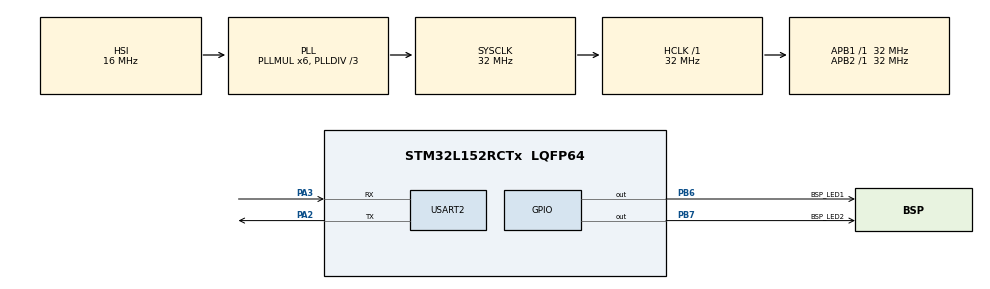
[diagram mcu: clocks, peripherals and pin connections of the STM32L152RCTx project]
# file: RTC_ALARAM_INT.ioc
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Mcu.Family=STM32L1
Mcu.Name=STM32L152RCTx
Mcu.Package=LQFP64
NVIC.PriorityGroup=NVIC_PRIORITYGROUP_0
NVIC.RTC_Alarm_IRQn=true\:0\:0\:false\:false\:true\:true\:true\:true
PA2.Mode=Asynchronous
PA2.Signal=USART2_TX
PA3.Mode=Asynchronous
PA3.Signal=USART2_RX
PB6.GPIO_Label=BSP_LED1
PB6.Signal=GPIO_Output
PB7.GPIO_Label=BSP_LED2
PB7.Signal=GPIO_Output
ProjectManager.HeapSize=0x200
ProjectManager.StackSize=0x400
ProjectManager.TargetToolchain=STM32CubeIDE
RCC.48MHZClocksFreq_Value=48000000
RCC.AHBFreq_Value=32000000
RCC.APB1Freq_Value=32000000
RCC.APB1TimFreq_Value=32000000
RCC.APB2Freq_Value=32000000
RCC.APB2TimFreq_Value=32000000
RCC.HCLKFreq_Value=32000000
RCC.HSE_VALUE=8000000
RCC.HSI_VALUE=16000000
RCC.LSE_VALUE=32768
RCC.MSI_VALUE=2097000
RCC.PLLDIV=RCC_PLL_DIV3
RCC.PLLMUL=RCC_PLL_MUL6
RCC.RTCClockSelection=RCC_RTCCLKSOURCE_LSI
RCC.RTCClockSelectionVirtual=RCC_RTCCLKSOURCE_LSE
RCC.SYSCLKFreq_VALUE=32000000
RCC.SYSCLKSource=RCC_SYSCLKSOURCE_PLLCLK
RCC.USBOutput=48000000
RCC.VCOOutputFreq_Value=96000000
RTC.Alarm-Alarm\ A=RTC_ALARM_A
RTC.AlarmMaskDateWeekDay_B-Alarm\ B=RTC_ALARMMASK_DATEWEEKDAY
RTC.AlarmMaskHours_B-Alarm\ B=RTC_ALARMMASK_HOURS
RTC.AlarmMaskMinutes_B-Alarm\ B=RTC_ALARMMASK_MINUTES
RTC.Alarm_B-Alarm\ B=RTC_ALARM_B
RTC.Date=1
RTC.Format=RTC_FORMAT_BCD
RTC.Hours=4
RTC.Hours_A-Alarm\ A=4
RTC.Minutes=20
RTC.Minutes_A-Alarm\ A=22
RTC.Month=RTC_MONTH_NOVEMBER
RTC.Seconds=8
RTC.Seconds_A-Alarm\ A=5
RTC.Seconds_B-Alarm\ B=30
RTC.WeekDay=RTC_WEEKDAY_TUESDAY
RTC.Year=22
USART2.VirtualMode=VM_ASYNC
VP_RTC_VS_RTC_Activate.Mode=RTC_Enabled
VP_RTC_VS_RTC_Alarm_A_Intern.Mode=Alarm A
VP_RTC_VS_RTC_Alarm_B_Intern.Mode=Alarm B
VP_RTC_VS_RTC_Calendar.Mode=RTC_Calendar
board=STM32L152C-DISCO

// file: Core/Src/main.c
/* USER CODE BEGIN Header */
/**
 ******************************************************************************
 * @file           : main.c
 * @brief          : Main program body
 ******************************************************************************
 * @attention
 *
 * Copyright (c) 2023 STMicroelectronics.
 * All rights reserved.
 *
 * This software is licensed under terms that can be found in the LICENSE file
 * in the root directory of this software component.
 * If no LICENSE file comes with this software, it is provided AS-IS.
 *
 ******************************************************************************
 */
/* USER CODE END Header */
#include "main.h"

/* USER CODE BEGIN Includes */
#include<stdio.h>
/* USER CODE END Includes */

/* USER CODE BEGIN PTD */
char Time[30];
char Date[20];
/* USER CODE END PTD */

RTC_HandleTypeDef hrtc;

UART_HandleTypeDef huart2;

void SystemClock_Config(void);
static void MX_GPIO_Init(void);
static void MX_USART2_UART_Init(void);
static void MX_RTC_Init(void);

/* USER CODE BEGIN 0 */
// below code is alram 4:22 then trigger so led set
void HAL_RTC_AlarmAEventCallback(RTC_HandleTypeDef *hrtc) {
	HAL_GPIO_WritePin(BSP_LED1_GPIO_Port, BSP_LED1_Pin, SET);
	//printf("time is out go out side\n");

}

// below code is evey minit is trigger 4:23 triger so led toggle
void HAL_RTCEx_AlarmBEventCallback(RTC_HandleTypeDef *hrtc) {

	HAL_GPIO_TogglePin(BSP_LED2_GPIO_Port, BSP_LED2_Pin);
}
/* USER CODE END 0 */

int main(void)
{

  /* MCU Configuration--------------------------------------------------------*/

  /* Reset of all peripherals, Initializes the Flash interface and the Systick. */
  HAL_Init();

  /* Configure the system clock */
  SystemClock_Config();

  /* Initialize all configured peripherals */
  MX_GPIO_Init();
  MX_USART2_UART_Init();
  MX_RTC_Init();
  /* USER CODE BEGIN 2 */

	RTC_TimeTypeDef sTime;
	RTC_DateTypeDef sDate;
	// RTC_AlarmTypeDef sAlarm ;

  /* USER CODE END 2 */

  /* Infinite loop */
	while (1) {

    /* USER CODE BEGIN 3 */

		HAL_RTC_GetTime(&hrtc, &sTime, RTC_FORMAT_BIN);
		HAL_RTC_GetDate(&hrtc, &sDate, RTC_FORMAT_BIN);

		sprintf(Time, "Time: %02d.%02d.%02d\r\n", sTime.Hours, sTime.Minutes,
				sTime.Seconds);

		sprintf(Date, "Date: %02d.%02d.%02d\r\n", sDate.Date, sDate.Month,
				sDate.Year);

//		printf("date is----->%x  %x  %x\r\n", sDate.Date ,sDate.Month,sDate.Year);
//		printf("time is --->%x %x %x \r\n",sTime.Hours,sTime.Minutes,sTime.Seconds);

		printf("--->%s\r\n", Date);
		printf("--->%s\r\n", Time);

		HAL_Delay(1000);

	}
  /* USER CODE END 3 */
}

void SystemClock_Config(void)
{
  RCC_OscInitTypeDef RCC_OscInitStruct = {0};
  RCC_ClkInitTypeDef RCC_ClkInitStruct = {0};
  RCC_PeriphCLKInitTypeDef PeriphClkInit = {0};

  /** Configure the main internal regulator output voltage
  */
  __HAL_PWR_VOLTAGESCALING_CONFIG(PWR_REGULATOR_VOLTAGE_SCALE1);

  /** Initializes the RCC Oscillators according to the specified parameters
  * in the RCC_OscInitTypeDef structure.
  */
  RCC_OscInitStruct.OscillatorType = RCC_OSCILLATORTYPE_HSI|RCC_OSCILLATORTYPE_LSI;
  RCC_OscInitStruct.HSIState = RCC_HSI_ON;
  RCC_OscInitStruct.HSICalibrationValue = RCC_HSICALIBRATION_DEFAULT;
  RCC_OscInitStruct.LSIState = RCC_LSI_ON;
  RCC_OscInitStruct.PLL.PLLState = RCC_PLL_ON;
  RCC_OscInitStruct.PLL.PLLSource = RCC_PLLSOURCE_HSI;
  RCC_OscInitStruct.PLL.PLLMUL = RCC_PLL_MUL6;
  RCC_OscInitStruct.PLL.PLLDIV = RCC_PLL_DIV3;
  if (HAL_RCC_OscConfig(&RCC_OscInitStruct) != HAL_OK)
  {
    Error_Handler();
  }

  /** Initializes the CPU, AHB and APB buses clocks
  */
  RCC_ClkInitStruct.ClockType = RCC_CLOCKTYPE_HCLK|RCC_CLOCKTYPE_SYSCLK
                              |RCC_CLOCKTYPE_PCLK1|RCC_CLOCKTYPE_PCLK2;
  RCC_ClkInitStruct.SYSCLKSource = RCC_SYSCLKSOURCE_PLLCLK;
  RCC_ClkInitStruct.AHBCLKDivider = RCC_SYSCLK_DIV1;
  RCC_ClkInitStruct.APB1CLKDivider = RCC_HCLK_DIV1;
  RCC_ClkInitStruct.APB2CLKDivider = RCC_HCLK_DIV1;

  if (HAL_RCC_ClockConfig(&RCC_ClkInitStruct, FLASH_LATENCY_1) != HAL_OK)
  {
    Error_Handler();
  }
  PeriphClkInit.PeriphClockSelection = RCC_PERIPHCLK_RTC;
  PeriphClkInit.RTCClockSelection = RCC_RTCCLKSOURCE_LSI;
  if (HAL_RCCEx_PeriphCLKConfig(&PeriphClkInit) != HAL_OK)
  {
    Error_Handler();
  }
}

static void MX_RTC_Init(void)
{

  RTC_TimeTypeDef sTime = {0};
  RTC_DateTypeDef sDate = {0};
  RTC_AlarmTypeDef sAlarm = {0};

  /** Initialize RTC Only
  */
  hrtc.Instance = RTC;
  hrtc.Init.HourFormat = RTC_HOURFORMAT_24;
  hrtc.Init.AsynchPrediv = 127;
  hrtc.Init.SynchPrediv = 255;
  hrtc.Init.OutPut = RTC_OUTPUT_DISABLE;
  hrtc.Init.OutPutPolarity = RTC_OUTPUT_POLARITY_HIGH;
  hrtc.Init.OutPutType = RTC_OUTPUT_TYPE_OPENDRAIN;
  if (HAL_RTC_Init(&hrtc) != HAL_OK)
  {
    Error_Handler();
  }

  /** Initialize RTC and set the Time and Date
  */
  sTime.Hours = 0x4;
  sTime.Minutes = 0x20;
  sTime.Seconds = 0x8;
  sTime.DayLightSaving = RTC_DAYLIGHTSAVING_NONE;
  sTime.StoreOperation = RTC_STOREOPERATION_RESET;
  if (HAL_RTC_SetTime(&hrtc, &sTime, RTC_FORMAT_BCD) != HAL_OK)
  {
    Error_Handler();
  }
  sDate.WeekDay = RTC_WEEKDAY_TUESDAY;
  sDate.Month = RTC_MONTH_NOVEMBER;
  sDate.Date = 0x1;
  sDate.Year = 0x22;

  if (HAL_RTC_SetDate(&hrtc, &sDate, RTC_FORMAT_BCD) != HAL_OK)
  {
    Error_Handler();
  }

  /** Enable the Alarm A
  */
  sAlarm.AlarmTime.Hours = 0x4;
  sAlarm.AlarmTime.Minutes = 0x22;
  sAlarm.AlarmTime.Seconds = 0x5;
  sAlarm.AlarmTime.SubSeconds = 0x0;
  sAlarm.AlarmTime.DayLightSaving = RTC_DAYLIGHTSAVING_NONE;
  sAlarm.AlarmTime.StoreOperation = RTC_STOREOPERATION_RESET;
  sAlarm.AlarmMask = RTC_ALARMMASK_NONE;
  sAlarm.AlarmSubSecondMask = RTC_ALARMSUBSECONDMASK_ALL;
  sAlarm.AlarmDateWeekDaySel = RTC_ALARMDATEWEEKDAYSEL_DATE;
  sAlarm.AlarmDateWeekDay = 0x1;
  sAlarm.Alarm = RTC_ALARM_A;
  if (HAL_RTC_SetAlarm_IT(&hrtc, &sAlarm, RTC_FORMAT_BCD) != HAL_OK)
  {
    Error_Handler();
  }

  /** Enable the Alarm B
  */
  sAlarm.AlarmTime.Hours = 0x0;
  sAlarm.AlarmTime.Minutes = 0x0;
  sAlarm.AlarmTime.Seconds = 0x30;
  sAlarm.AlarmMask = RTC_ALARMMASK_DATEWEEKDAY|RTC_ALARMMASK_HOURS
                              |RTC_ALARMMASK_MINUTES;
  sAlarm.Alarm = RTC_ALARM_B;
  if (HAL_RTC_SetAlarm_IT(&hrtc, &sAlarm, RTC_FORMAT_BCD) != HAL_OK)
  {
    Error_Handler();
  }

}

static void MX_USART2_UART_Init(void)
{

  huart2.Instance = USART2;
  huart2.Init.BaudRate = 115200;
  huart2.Init.WordLength = UART_WORDLENGTH_8B;
  huart2.Init.StopBits = UART_STOPBITS_1;
  huart2.Init.Parity = UART_PARITY_NONE;
  huart2.Init.Mode = UART_MODE_TX_RX;
  huart2.Init.HwFlowCtl = UART_HWCONTROL_NONE;
  huart2.Init.OverSampling = UART_OVERSAMPLING_16;
  if (HAL_UART_Init(&huart2) != HAL_OK)
  {
    Error_Handler();
  }

}

static void MX_GPIO_Init(void)
{
  GPIO_InitTypeDef GPIO_InitStruct = {0};

  /* GPIO Ports Clock Enable */
  __HAL_RCC_GPIOA_CLK_ENABLE();
  __HAL_RCC_GPIOB_CLK_ENABLE();

  /*Configure GPIO pin Output Level */
  HAL_GPIO_WritePin(GPIOB, BSP_LED1_Pin|BSP_LED2_Pin, GPIO_PIN_RESET);

  /*Configure GPIO pins : BSP_LED1_Pin BSP_LED2_Pin */
  GPIO_InitStruct.Pin = BSP_LED1_Pin|BSP_LED2_Pin;
  GPIO_InitStruct.Mode = GPIO_MODE_OUTPUT_PP;
  GPIO_InitStruct.Pull = GPIO_NOPULL;
  GPIO_InitStruct.Speed = GPIO_SPEED_FREQ_LOW;
  HAL_GPIO_Init(GPIOB, &GPIO_InitStruct);

}

void Error_Handler(void)
{
	__disable_irq();
	while (1) {
	}
}
